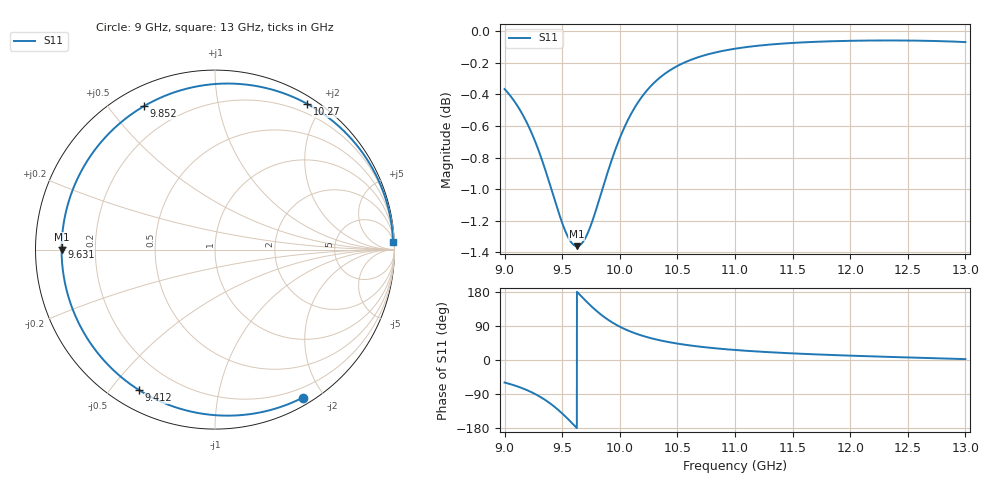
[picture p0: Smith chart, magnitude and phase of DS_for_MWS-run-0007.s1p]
! TOUCHSTONE file generated by CST DESIGN STUDIO
! Date and time: Tue Feb  4 17:16:01 2025
! Project name: C:\Work\MatlabApps\UnitCellOptimizationMatlab\CST\unitcell.cst
! Tree item: Tasks\Sweep1\SPara1\S-Parameters
! Header version: 2024
! Port assignment regex: !\s*Touchstone port\s*([0-9]+)\s*=\s*(CST MWS port|CST DES external port|CST DES block port)\s*(.+)\s* \(\"(.*)\"\)(\s*mode\s*([0-9]+))?.*
! Touchstone port assignment:
! Touchstone port 1 = CST DES external port 1 ("")
# GHz S MA R 50
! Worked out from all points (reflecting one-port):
!   4001 points, 9 GHz to 13 GHz, reference 50 ohm
!   lowest |S11| = -1.4 dB at 9.628 GHz (marker M1), VSWR 12.78, Z = 3.91 + j0.00626 ohm
!   phase of S11 starts at -59 deg and turns -298 deg over the sweep
!   S11 on the Smith chart (normalised r, x): 9 GHz: 0.09, -1.75; 9.412 GHz: 0.08, -0.59; 9.631 GHz: 0.08, +0.01; 9.852 GHz: 0.08, +0.62; 10.27 GHz: 0.09, +1.81; 13 GHz: 9, +47
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9  0.9588 -59.4
9.056  0.9534 -64.3
9.129  0.9448 -71.7
9.255  0.9247 -88.2
9.339  0.9071 -102.8
9.412  0.8897 -118.4
9.456  0.8791 -129.2
9.5  0.8694 -141.1
9.567  0.8584 -160.9
9.628  0.8548 180.0
9.631  0.8548 179.0
9.688  0.8583 161.1
9.75  0.8683 142.6
9.801  0.8795 128.7
9.852  0.8919 116.3
9.921  0.9084 101.7
10  0.9251 87.9
10.063  0.9362 78.9
10.128  0.9457 71.0
10.269  0.9609 57.7
10.377  0.9687 50.1
10.5  0.9751 43.3
10.72  0.9824 34.3
11  0.9875 26.5
11.5  0.9917 17.5
12  0.9932 11.5
12.5  0.9934 6.7
13  0.9923 2.3
